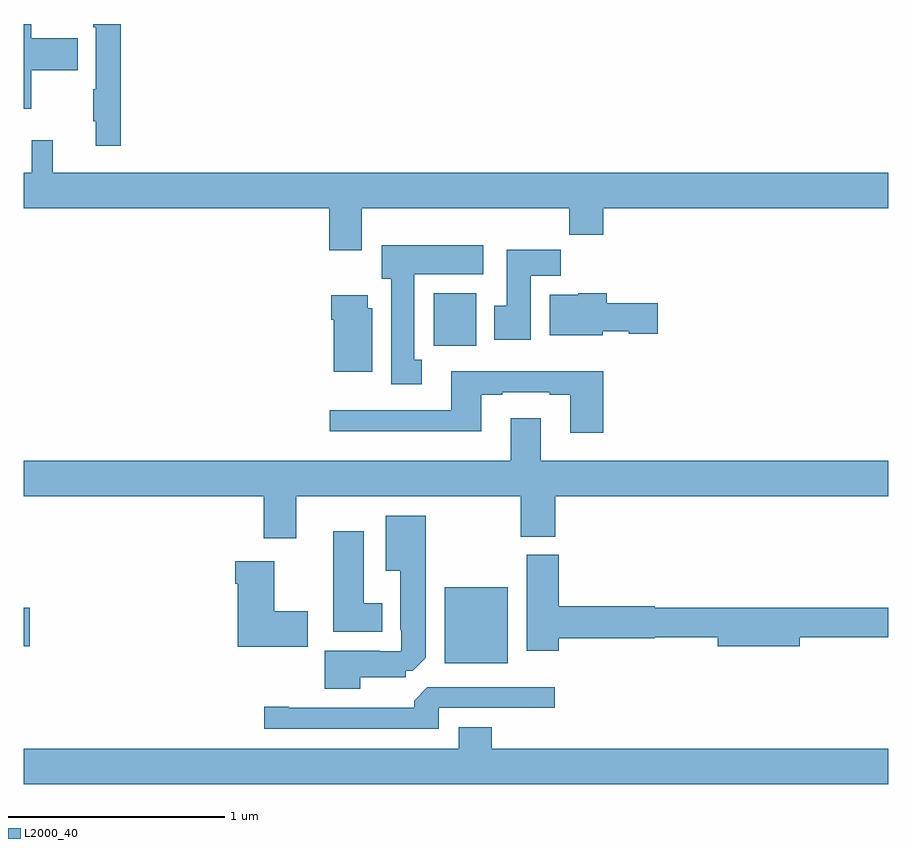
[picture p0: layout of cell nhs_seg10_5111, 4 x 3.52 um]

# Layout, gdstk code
import gdstk
lib = gdstk.Library(unit=1e-6, precision=1e-09)
def R(c, l, rs):  # rectangles x0, y0, x1, y1
    for r in rs: c.add(gdstk.rectangle(r[:2], r[2:], *l))
def P(c, l, *ps):  # polygons
    for p in ps: c.add(gdstk.Polygon(p, *l))
L2000_40 = (2000, 40)

nhs_seg10_5111 = lib.new_cell('nhs_seg10_5111')
R(nhs_seg10_5111, L2000_40, [(408.947,1299.542,409.24,1299.895), (407,1299.622,407.029,1299.8), (408.896,1301.012,409.093,1301.254)])
P(nhs_seg10_5111, L2000_40, [(407.035,1302.286),(407.249,1302.286),(407.249,1302.433),(407.035,1302.433),(407.035,1302.5),(407,1302.5),(407,1302.107),(407.035,1302.107)],
  [(407.45,1302.5),(407.322,1302.5),(407.322,1302.485),(407.334,1302.485),(407.334,1302.197),(407.322,1302.197),(407.322,1302.049),(407.333,1302.049),(407.333,1301.937),(407.45,1301.937)],
  [(408.565,1301.648),(409.525,1301.648),(409.525,1301.524),(409.682,1301.524),(409.682,1301.648),(411,1301.648),(411,1301.812),(407.135,1301.812),(407.135,1301.962),(407.037,1301.962),(407.037,1301.812),(407,1301.812),(407,1301.648),(408.413,1301.648),(408.413,1301.454),(408.565,1301.454)],
  [(408.841,1300.946),(408.808,1300.946),(408.808,1301.342),(409.126,1301.342),(409.126,1301.476),(408.656,1301.476),(408.656,1301.322),(408.701,1301.322),(408.701,1300.833),(408.841,1300.833)],
  [(409.345,1301.336),(409.484,1301.336),(409.484,1301.455),(409.235,1301.455),(409.235,1301.196),(409.178,1301.196),(409.178,1301.04),(409.345,1301.04)],
  [(409.68,1301.078),(409.8,1301.078),(409.8,1301.066),(409.933,1301.066),(409.933,1301.208),(409.697,1301.208),(409.697,1301.254),(409.566,1301.254),(409.566,1301.248),(409.433,1301.248),(409.433,1301.06),(409.68,1301.06)],
  [(408.613,1301.184),(408.592,1301.184),(408.592,1301.245),(408.422,1301.245),(408.422,1301.132),(408.434,1301.132),(408.434,1300.892),(408.613,1300.892)],
  [(409.682,1300.894),(408.977,1300.894),(408.977,1300.713),(408.417,1300.713),(408.417,1300.616),(409.117,1300.616),(409.117,1300.785),(409.213,1300.785),(409.213,1300.797),(409.433,1300.797),(409.433,1300.785),(409.529,1300.785),(409.529,1300.608),(409.682,1300.608)],
  [(408.262,1300.316),(409.3,1300.316),(409.3,1300.129),(409.46,1300.129),(409.46,1300.316),(411,1300.316),(411,1300.48),(409.393,1300.48),(409.393,1300.675),(409.253,1300.675),(409.253,1300.48),(407,1300.48),(407,1300.316),(408.11,1300.316),(408.11,1300.122),(408.262,1300.122)],
  [(408.556,1299.479),(408.768,1299.479),(408.768,1299.507),(408.799,1299.507),(408.859,1299.567),(408.859,1300.225),(408.674,1300.225),(408.674,1299.971),(408.743,1299.971),(408.743,1299.697),(408.747,1299.697),(408.747,1299.597),(408.647,1299.597),(408.647,1299.601),(408.392,1299.601),(408.392,1299.425),(408.556,1299.425)],
  [(408.658,1299.82),(408.574,1299.82),(408.574,1300.153),(408.431,1300.153),(408.431,1299.689),(408.658,1299.689)],
  [(409.475,1299.659),(409.92,1299.659),(409.92,1299.664),(410.21,1299.664),(410.21,1299.622),(410.59,1299.622),(410.59,1299.664),(411,1299.664),(411,1299.8),(409.92,1299.8),(409.92,1299.806),(409.475,1299.806),(409.475,1300.044),(409.328,1300.044),(409.328,1299.6),(409.475,1299.6)],
  [(408.313,1299.783),(408.16,1299.783),(408.16,1300.015),(407.978,1300.015),(407.978,1299.911),(407.99,1299.911),(407.99,1299.62),(408.313,1299.62)],
  [(408.921,1299.336),(409.456,1299.336),(409.456,1299.432),(408.867,1299.432),(408.806,1299.37),(408.806,1299.336),(408.226,1299.336),(408.226,1299.341),(408.114,1299.341),(408.114,1299.24),(408.921,1299.24)],
  [(411,1299.148),(409.166,1299.148),(409.166,1299.247),(409.013,1299.247),(409.013,1299.148),(407,1299.148),(407,1298.984),(411,1298.984)])

lib.write_gds('nhs_seg10_5111.gds')
